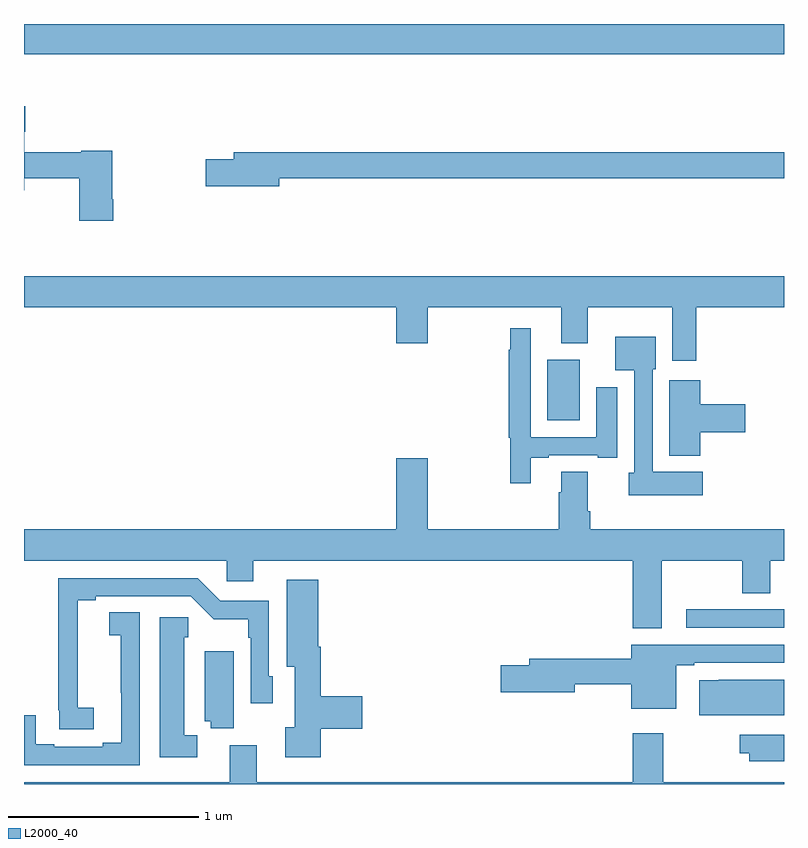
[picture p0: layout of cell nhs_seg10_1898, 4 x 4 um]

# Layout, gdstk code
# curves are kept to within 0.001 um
import gdstk
lib = gdstk.Library(unit=1e-6, precision=1e-09)
def R(c, l, rs):  # rectangles x0, y0, x1, y1
    for r in rs: c.add(gdstk.rectangle(r[:2], r[2:], *l))
def P(c, l, *ps):  # polygons
    for p in ps: c.add(gdstk.Polygon(p, *l))
L2000_40 = (2000, 40)

nhs_seg10_1898 = lib.new_cell('nhs_seg10_1898')
R(nhs_seg10_1898, L2000_40, [(214.485,1273.323,215,1273.419), (213.755,1274.414,213.925,1274.734), (211,1276.34,215,1276.5)])
P(nhs_seg10_1898, L2000_40, [(211.469,1275.577),(211.464,1275.577),(211.464,1275.832),(211.302,1275.832),(211.302,1275.824),(211.002,1275.824),(211.002,1275.932),(211.007,1275.932),(211.007,1276.068),(211,1276.068),(211,1275.624),(211.002,1275.624),(211.002,1275.688),(211.291,1275.688),(211.291,1275.465),(211.469,1275.465)],
  [(212.344,1275.688),(215,1275.688),(215,1275.824),(212.105,1275.824),(212.105,1275.788),(211.956,1275.788),(211.956,1275.646),(212.344,1275.646)],
  [(214.538,1275.008),(215,1275.008),(215,1275.172),(211,1275.172),(211,1275.008),(212.96,1275.008),(212.96,1274.82),(213.124,1274.82),(213.124,1275.008),(213.827,1275.008),(213.827,1274.819),(213.967,1274.819),(213.967,1275.008),(214.412,1275.008),(214.412,1274.727),(214.538,1274.727)],
  [(213.667,1274.217),(213.763,1274.217),(213.763,1274.229),(214.019,1274.229),(214.019,1274.217),(214.123,1274.217),(214.123,1274.587),(214.013,1274.587),(214.013,1274.325),(213.666,1274.325),(213.666,1274.899),(213.558,1274.899),(213.558,1274.786),(213.55,1274.786),(213.55,1274.322),(213.558,1274.322),(213.558,1274.082),(213.667,1274.082)],
  [(214.573,1274.143),(214.308,1274.143),(214.308,1274.682),(214.324,1274.682),(214.324,1274.854),(214.112,1274.854),(214.112,1274.678),(214.212,1274.678),(214.212,1274.139),(214.184,1274.139),(214.184,1274.021),(214.573,1274.021)],
  [(214.559,1274.351),(214.795,1274.351),(214.795,1274.498),(214.559,1274.498),(214.559,1274.626),(214.397,1274.626),(214.397,1274.228),(214.559,1274.228)],
  [(214.357,1273.676),(214.78,1273.676),(214.78,1273.504),(214.927,1273.504),(214.927,1273.676),(215,1273.676),(215,1273.84),(213.98,1273.84),(213.98,1273.936),(213.967,1273.936),(213.967,1274.144),(213.827,1274.144),(213.827,1274.036),(213.815,1274.036),(213.815,1273.84),(213.124,1273.84),(213.124,1274.215),(212.96,1274.215),(212.96,1273.84),(211,1273.84),(211,1273.676),(212.067,1273.676),(212.067,1273.566),(212.206,1273.566),(212.206,1273.676),(214.205,1273.676),(214.205,1273.319),(214.357,1273.319)],
  [(211.366,1272.902),(211.284,1272.902),(211.282,1273.468),(211.378,1273.468),(211.378,1273.488),(211.878,1273.488),(211.999,1273.367),(212.181,1273.367),(212.181,1273.271),(212.193,1273.271),(212.193,1272.924),(212.31,1272.924),(212.31,1273.068),(212.289,1273.068),(212.289,1273.464),(212.034,1273.464),(211.914,1273.584),(211.18,1273.584),(211.18,1272.889),(211.186,1272.889),(211.186,1272.787),(211.366,1272.787)],
  [(212.561,1272.791),(212.779,1272.791),(212.779,1272.962),(212.561,1272.962),(212.561,1273.222),(212.548,1273.222),(212.548,1273.576),(212.384,1273.576),(212.384,1273.118),(212.426,1273.118),(212.426,1272.798),(212.376,1272.798),(212.376,1272.642),(212.561,1272.642)],
  [(211.608,1273.403),(211.449,1273.403),(211.449,1273.283),(211.51,1273.283),(211.51,1272.979),(211.511,1272.979),(211.511,1272.716),(211.415,1272.716),(211.415,1272.696),(211.159,1272.696),(211.159,1272.71),(211.062,1272.71),(211.062,1272.863),(211,1272.863),(211,1272.6),(211.608,1272.6)],
  [(211.912,1272.756),(211.843,1272.756),(211.843,1273.272),(211.865,1273.272),(211.865,1273.378),(211.715,1273.378),(211.715,1272.641),(211.912,1272.641)],
  [(214.432,1273.124),(214.528,1273.124),(214.528,1273.137),(215,1273.137),(215,1273.233),(214.196,1273.233),(214.196,1273.16),(213.659,1273.16),(213.659,1273.124),(213.51,1273.124),(213.51,1272.982),(213.898,1272.982),(213.898,1273.024),(214.196,1273.024),(214.196,1272.896),(214.432,1272.896)],
  [(212.104,1273.198),(211.952,1273.198),(211.952,1272.83),(211.984,1272.83),(211.984,1272.793),(212.104,1272.793)],
  [(215,1273.048),(214.657,1273.048),(214.657,1273.047),(214.554,1273.047),(214.554,1272.863),(215,1272.863)],
  [(215,1272.508),(214.365,1272.508),(214.365,1272.766),(214.205,1272.766),(214.205,1272.508),(212.224,1272.508),(212.224,1272.703),(212.084,1272.703),(212.084,1272.508),(211,1272.508),(211,1272.5),(215,1272.5)],
  [(215,1272.759),(214.767,1272.759),(214.767,1272.662),(214.817,1272.662),(214.817,1272.62),(215,1272.62)])

lib.write_gds('nhs_seg10_1898.gds')
